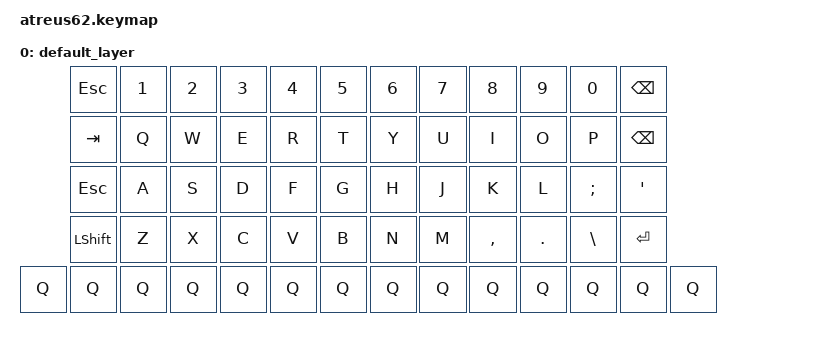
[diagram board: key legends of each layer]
/*
 * Copyright (c) 2020 The ZMK Contributors
 *
 * SPDX-License-Identifier: MIT
 */

#include <behaviors.dtsi>
#include <dt-bindings/zmk/keys.h>
#include <dt-bindings/zmk/bt.h>

/ {
	keymap {
		compatible = "zmk,keymap";

		default_layer {
				// -----------------------------------------------------------------------------------------
				// |  TAB  |  Q   |  W   |  E   |  R   |  T   |   Y   |  U    |  I   |  O   |   P   | BSPC  |
				// |  ESC  |  A   |  S   |  D   |  F   |  G   |   H   |  J    |  K   |  L   |   ;   |  '    |
				// | SHIFT |  Z   |  X   |  C   |  V   |  B   |   N   |  M    |  ,   |  .   |   /   |  RET  |
				// | FN    | LGUI | LALT | LCTL | LOWR |     SPACE    |  RAIS | LARW | DARW | UARW  |  RARW |
			bindings = <
				&kp ESC &kp N1 &kp N2 &kp N3 &kp N4 &kp N5	&kp N6 &kp N7 &kp N8 &kp N9 &kp N0 &kp BSPC
				&kp TAB  &kp Q    &kp W &kp E &kp R &kp T  &kp Y   &kp U  &kp I    &kp O   &kp P    &kp BSPC
				&kp ESC  &kp A    &kp S &kp D &kp F &kp G  &kp H   &kp J  &kp K    &kp L   &kp SEMI &kp SQT
				&kp LSHFT &kp Z    &kp X &kp C &kp V &kp B  &kp N   &kp M  &kp COMMA &kp DOT &kp BSLH &kp RET
				&kp Q &kp Q &kp Q &kp Q &kp Q &kp Q &kp Q &kp Q &kp Q &kp Q &kp Q &kp Q &kp Q &kp Q
			>;
		};
	};
};
